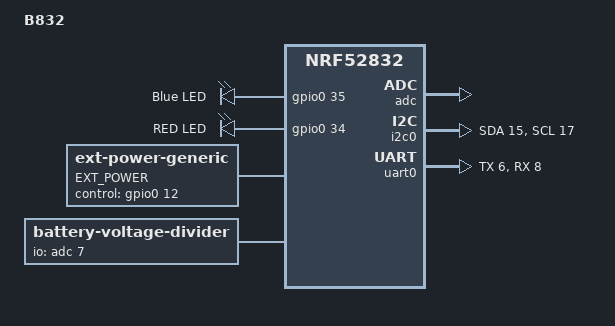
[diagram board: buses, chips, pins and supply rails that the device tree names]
/*
 * Copyright (c) 2020 Pete Johanson, Derek Schmell
 *
 * SPDX-License-Identifier: MIT
 */

/dts-v1/;
#include <nordic/nrf52832_qfaa.dtsi>
#include "arduino_pro_micro_pins.dtsi"

/ {
	model = "B832";
	compatible = "bluemicro840,v1";

	chosen {
		zephyr,code-partition = &code_partition;
		zephyr,sram = &sram0;
		zephyr,flash = &flash0;
		// zephyr,console = &cdc_acm_uart;
		zmk,battery = &vbatt;
	};

	leds {
		compatible = "gpio-leds";
		blue_led: led_0 {
			gpios = <&gpio0 35 GPIO_ACTIVE_HIGH>;
			label = "Blue LED";
		};
    red_led: led_1 {
			gpios = <&gpio0 34 GPIO_ACTIVE_HIGH>;
			label = "RED LED";
		};
	};

	ext-power {
		compatible = "zmk,ext-power-generic";
		label = "EXT_POWER";
		init-delay-ms = <20>;
		control-gpios = <&gpio0 12 GPIO_ACTIVE_HIGH>;
	};

	vbatt: vbatt {
		compatible = "zmk,battery-voltage-divider";
		label = "BATTERY";
		io-channels = <&adc 7>;
		output-ohms = <2000000>;
		full-ohms = <(2000000 + 806000)>;
	};

};

&adc {
	status = "okay";
};

&gpiote {
	status = "okay";
};

&gpio0 {
	status = "okay";
};

&i2c0 {
	compatible = "nordic,nrf-twi";
	sda-pin = <15>;
	scl-pin = <17>;
};

&uart0 {
	compatible = "nordic,nrf-uarte";
	tx-pin = <6>;
	rx-pin = <8>;
};

// &usbd {
// 	status = "okay";
// 	cdc_acm_uart: cdc_acm_uart {
// 		compatible = "zephyr,cdc-acm-uart";
// 		label = "CDC_ACM_0";
// 	};
// };


&flash0 {
	/*
	 * For more information, see:
	 * http://docs.zephyrproject.org/latest/devices/dts/flash_partitions.html
	 */
	partitions {
		compatible = "fixed-partitions";
		#address-cells = <1>;
		#size-cells = <1>;

		sd_partition: partition@0 {
			label = "softdevice";
			reg = <0x00000000 0x00026000>;
		};
		code_partition: partition@26000 {
			label = "code_partition";
			reg = <0x00026000 0x00046000>;
		};

		/*
		 * The flash starting at 0x000ec000 and ending at
		 * 0x000f3fff is reserved for use by the application.
		 */

		/*
		 * Storage partition will be used by FCB/LittleFS/NVS
		 * if enabled.
		 */
		storage_partition: partition@6c000 {
			label = "storage";
			reg = <0x0006c000 0x00008000>;
		};

		boot_partition: partition@f4000 {
			label = "adafruit_boot";
			reg = <0x000f4000 0x0000c000>;
		};
	};
};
